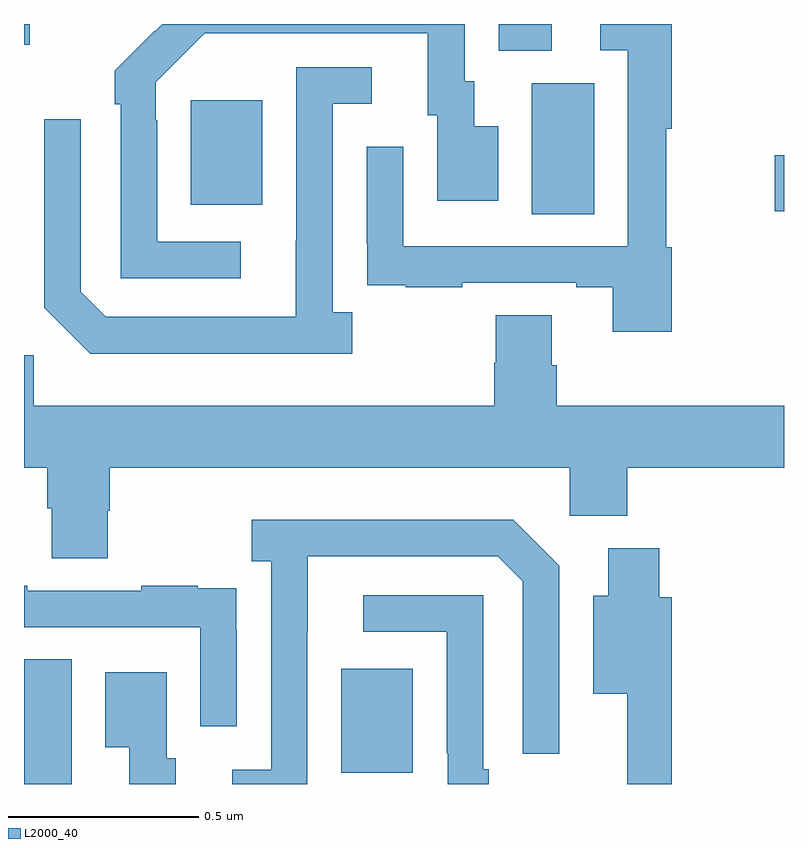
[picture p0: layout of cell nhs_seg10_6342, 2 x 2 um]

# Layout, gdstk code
import gdstk
lib = gdstk.Library(unit=1e-6, precision=1e-09)
def R(c, l, rs):  # rectangles x0, y0, x1, y1
    for r in rs: c.add(gdstk.rectangle(r[:2], r[2:], *l))
def P(c, l, *ps):  # polygons
    for p in ps: c.add(gdstk.Polygon(p, *l))
L2000_40 = (2000, 40)

nhs_seg10_6342 = lib.new_cell('nhs_seg10_6342')
R(nhs_seg10_6342, L2000_40, [(190,1283.5,190.126,1283.828), (190.835,1283.529,191.023,1283.803), (191.336,1285,191.5,1285.344), (191.976,1285.007,192,1285.154), (190.439,1285.025,190.627,1285.3), (191.249,1285.429,191.389,1285.5), (190,1285.446,190.015,1285.5)])
P(nhs_seg10_6342, L2000_40, [(190.57,1284.927),(190.35,1284.927),(190.35,1285.247),(190.347,1285.247),(190.347,1285.347),(190.476,1285.476),(191.063,1285.476),(191.063,1285.26),(191.087,1285.26),(191.087,1285.035),(191.248,1285.035),(191.248,1285.231),(191.185,1285.231),(191.185,1285.35),(191.16,1285.35),(191.16,1285.5),(190.364,1285.5),(190.345,1285.481),(190.344,1285.482),(190.239,1285.377),(190.239,1285.289),(190.254,1285.289),(190.254,1284.831),(190.57,1284.831)],
  [(191.705,1284.912),(191.69,1284.912),(191.69,1285.224),(191.705,1285.224),(191.705,1285.5),(191.517,1285.5),(191.517,1285.431),(191.589,1285.431),(191.589,1284.915),(190.998,1284.915),(190.998,1285.177),(190.902,1285.177),(190.902,1284.922),(190.903,1284.922),(190.903,1284.813),(191.005,1284.813),(191.005,1284.807),(191.153,1284.807),(191.153,1284.819),(191.453,1284.819),(191.453,1284.807),(191.549,1284.807),(191.549,1284.69),(191.705,1284.69)],
  [(190.864,1284.742),(190.812,1284.742),(190.812,1285.29),(190.915,1285.29),(190.915,1285.386),(190.716,1285.386),(190.716,1284.929),(190.715,1284.929),(190.715,1284.729),(190.215,1284.729),(190.149,1284.795),(190.149,1285.249),(190.053,1285.249),(190.053,1284.753),(190.174,1284.632),(190.864,1284.632)],
  [(190.221,1284.219),(190.226,1284.219),(190.226,1284.332),(191.436,1284.332),(191.436,1284.206),(191.588,1284.206),(191.588,1284.332),(192,1284.332),(192,1284.496),(191.402,1284.496),(191.402,1284.602),(191.389,1284.602),(191.389,1284.734),(191.242,1284.734),(191.242,1284.609),(191.237,1284.609),(191.237,1284.496),(190.026,1284.496),(190.026,1284.628),(190,1284.628),(190,1284.332),(190.061,1284.332),(190.061,1284.226),(190.073,1284.226),(190.073,1284.094),(190.221,1284.094)],
  [(190.746,1283.899),(190.747,1283.899),(190.747,1284.099),(191.247,1284.099),(191.313,1284.033),(191.313,1283.58),(191.409,1283.58),(191.409,1284.075),(191.288,1284.196),(190.599,1284.196),(190.599,1284.086),(190.65,1284.086),(190.65,1283.538),(190.548,1283.538),(190.548,1283.5),(190.746,1283.5)],
  [(191.705,1283.991),(191.672,1283.991),(191.672,1284.121),(191.537,1284.121),(191.537,1283.995),(191.498,1283.995),(191.498,1283.738),(191.588,1283.738),(191.588,1283.5),(191.705,1283.5)],
  [(190.56,1283.906),(190.559,1283.906),(190.559,1284.015),(190.457,1284.015),(190.457,1284.022),(190.309,1284.022),(190.309,1284.009),(190.009,1284.009),(190.009,1284.022),(190,1284.022),(190,1283.913),(190.464,1283.913),(190.464,1283.652),(190.56,1283.652)],
  [(191.223,1283.539),(191.208,1283.539),(191.208,1283.997),(190.893,1283.997),(190.893,1283.901),(191.112,1283.901),(191.112,1283.581),(191.115,1283.581),(191.115,1283.5),(191.223,1283.5)],
  [(190.399,1283.568),(190.375,1283.568),(190.375,1283.794),(190.214,1283.794),(190.214,1283.597),(190.277,1283.597),(190.277,1283.5),(190.399,1283.5)])

lib.write_gds('nhs_seg10_6342.gds')
